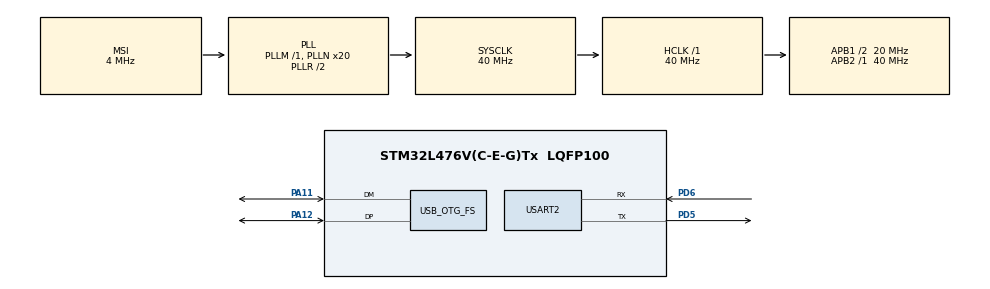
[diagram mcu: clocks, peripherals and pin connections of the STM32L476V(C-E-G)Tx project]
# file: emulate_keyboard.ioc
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Mcu.Family=STM32L4
Mcu.Name=STM32L476V(C-E-G)Tx
Mcu.Package=LQFP100
NVIC.OTG_FS_IRQn=true\:0\:0\:false\:false\:true\:true\:true
NVIC.PriorityGroup=NVIC_PRIORITYGROUP_4
NVIC.TIM1_UP_TIM16_IRQn=true\:15\:0\:false\:false\:true\:false\:true
NVIC.TimeBase=TIM1_UP_TIM16_IRQn
NVIC.TimeBaseIP=TIM1
PA11.Mode=Device_Only
PA11.Signal=USB_OTG_FS_DM
PA12.Mode=Device_Only
PA12.Signal=USB_OTG_FS_DP
PD5.Mode=Asynchronous
PD5.Signal=USART2_TX
PD6.Mode=Asynchronous
PD6.Signal=USART2_RX
PH0-OSC_IN\ (PH0).Mode=HSE-External-Oscillator
PH0-OSC_IN\ (PH0).Signal=RCC_OSC_IN
PH1-OSC_OUT\ (PH1).Mode=HSE-External-Oscillator
PH1-OSC_OUT\ (PH1).Signal=RCC_OSC_OUT
ProjectManager.HeapSize=0x200
ProjectManager.StackSize=0x400
ProjectManager.TargetToolchain=STM32CubeIDE
RCC.ADCFreq_Value=48000000
RCC.AHBFreq_Value=40000000
RCC.APB1CLKDivider=RCC_HCLK_DIV2
RCC.APB1Freq_Value=20000000
RCC.APB1TimFreq_Value=40000000
RCC.APB2Freq_Value=40000000
RCC.APB2TimFreq_Value=40000000
RCC.CortexFreq_Value=40000000
RCC.HCLKFreq_Value=40000000
RCC.HSE_VALUE=8000000
RCC.HSI_VALUE=16000000
RCC.LSE_VALUE=32768
RCC.MSI_VALUE=4000000
RCC.PLLN=20
RCC.PLLSAI1N=24
RCC.PREFETCH_ENABLE=1
RCC.SYSCLKFreq_VALUE=40000000
RCC.SYSCLKSource=RCC_SYSCLKSOURCE_PLLCLK
RCC.USBFreq_Value=48000000
RCC.VCOOutputFreq_Value=80000000
USART2.VirtualMode-Asynchronous=VM_ASYNC
USB_DEVICE.CLASS_NAME_FS=HID
USB_DEVICE.VirtualMode=Hid
USB_DEVICE.VirtualModeFS=Hid_FS
USB_OTG_FS.VirtualMode=Device_Only
VP_SYS_VS_tim1.Mode=TIM1
VP_USB_DEVICE_VS_USB_DEVICE_HID_FS.Mode=HID_FS
board=STM32L476G-DISCO

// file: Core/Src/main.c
/* USER CODE BEGIN Header */
/**
  ******************************************************************************
  * @file           : main.c
  * @brief          : Main program body
  ******************************************************************************
  * @attention
  *
  * <h2><center>&copy; Copyright (c) 2021 STMicroelectronics.
  * All rights reserved.</center></h2>
  *
  * This software component is licensed by ST under Ultimate Liberty license
  * SLA0044, the "License"; You may not use this file except in compliance with
  * the License. You may obtain a copy of the License at:
  *                             www.st.com/SLA0044
  *
  ******************************************************************************
  */
/* USER CODE END Header */
#include "main.h"
#include "usb_device.h"

/* USER CODE BEGIN Includes */
#include <stdlib.h>
#include <stdio.h>
#include "usbd_hid.h"

/* USER CODE END Includes */

UART_HandleTypeDef huart2;

void SystemClock_Config(void);
static void MX_GPIO_Init(void);
static void MX_USART2_UART_Init(void);

/* USER CODE BEGIN 0 */

#define KEY_NUMPAD_0 0x62
#define KEY_NUMPAD_1 0x59
#define KEY_NUMPAD_2 0x5A
#define KEY_NUMPAD_3 0x5B

#define KEY_ZOOM_INC KEY_NUMPAD_0
#define KEY_ZOOM_DEC KEY_NUMPAD_1
#define KEY_FOCUS_INC KEY_NUMPAD_2
#define KEY_FOCUS_DEC KEY_NUMPAD_3

#define INPUT_SIZE 128
char inputBuf[INPUT_SIZE];
int inputPos = 0;

extern USBD_HandleTypeDef hUsbDeviceFS;

void pressKey(uint8_t key, int times) {
  for (int i = 0; i < times; i++) {
    uint8_t report[8] = {};
    report[2] = key; // btn pressed
    USBD_HID_SendReport(&hUsbDeviceFS, report, sizeof (report));
    HAL_Delay(50);

    report[2] = 0x00; // Nothing pressed
    USBD_HID_SendReport(&hUsbDeviceFS, report, sizeof(report));
    HAL_Delay(50);
  }
}

/* USER CODE END 0 */

int main(void)
{

  /* MCU Configuration--------------------------------------------------------*/

  /* Reset of all peripherals, Initializes the Flash interface and the Systick. */
  HAL_Init();

  /* Configure the system clock */
  SystemClock_Config();

  /* Initialize all configured peripherals */
  MX_GPIO_Init();
  MX_USB_DEVICE_Init();
  MX_USART2_UART_Init();

  /* Infinite loop */
  /* USER CODE BEGIN WHILE */

  while (1)
  {
	  // Read UART
	      inputPos = 0;

	      do {
	        HAL_UART_Receive(&huart2, (uint8_t *)&inputBuf[inputPos], 1, HAL_MAX_DELAY);
	        HAL_UART_Transmit(&huart2, (uint8_t *)&inputBuf[inputPos], 1, HAL_MAX_DELAY);
	        inputPos++;
	      } while (inputPos != INPUT_SIZE - 1 && inputBuf[inputPos - 1] != '\r');

	      inputBuf[inputPos] = '\0';
	      HAL_UART_Transmit(&huart2, (uint8_t *)"\n", 1, HAL_MAX_DELAY);

	      HAL_Delay(2000);

	      char *endptr = NULL;
	      int action = strtol(inputBuf, &endptr, 10);
	      int times = strtol(endptr, NULL, 10);

	      if (action == 0) {
	        // Zoom +
	        pressKey(KEY_ZOOM_INC, times);
	      } else if (action == 1) {
	        // Zoom -
	        pressKey(KEY_ZOOM_DEC, times);
	      } else if (action == 2) {
	        // Focus +
	        pressKey(KEY_FOCUS_INC, times);
	      } else if (action == 3) {
	        // Focus -
	        pressKey(KEY_FOCUS_DEC, times);
	      }

    /* USER CODE END WHILE */

  }
}

void SystemClock_Config(void)
{
  RCC_OscInitTypeDef RCC_OscInitStruct = {0};
  RCC_ClkInitTypeDef RCC_ClkInitStruct = {0};

  /** Configure the main internal regulator output voltage
  */
  if (HAL_PWREx_ControlVoltageScaling(PWR_REGULATOR_VOLTAGE_SCALE1) != HAL_OK)
  {
    Error_Handler();
  }
  /** Initializes the RCC Oscillators according to the specified parameters
  * in the RCC_OscInitTypeDef structure.
  */
  RCC_OscInitStruct.OscillatorType = RCC_OSCILLATORTYPE_MSI;
  RCC_OscInitStruct.MSIState = RCC_MSI_ON;
  RCC_OscInitStruct.MSICalibrationValue = 0;
  RCC_OscInitStruct.MSIClockRange = RCC_MSIRANGE_6;
  RCC_OscInitStruct.PLL.PLLState = RCC_PLL_ON;
  RCC_OscInitStruct.PLL.PLLSource = RCC_PLLSOURCE_MSI;
  RCC_OscInitStruct.PLL.PLLM = 1;
  RCC_OscInitStruct.PLL.PLLN = 20;
  RCC_OscInitStruct.PLL.PLLP = RCC_PLLP_DIV7;
  RCC_OscInitStruct.PLL.PLLQ = RCC_PLLQ_DIV2;
  RCC_OscInitStruct.PLL.PLLR = RCC_PLLR_DIV2;
  if (HAL_RCC_OscConfig(&RCC_OscInitStruct) != HAL_OK)
  {
    Error_Handler();
  }
  /** Initializes the CPU, AHB and APB buses clocks
  */
  RCC_ClkInitStruct.ClockType = RCC_CLOCKTYPE_HCLK|RCC_CLOCKTYPE_SYSCLK
                              |RCC_CLOCKTYPE_PCLK1|RCC_CLOCKTYPE_PCLK2;
  RCC_ClkInitStruct.SYSCLKSource = RCC_SYSCLKSOURCE_PLLCLK;
  RCC_ClkInitStruct.AHBCLKDivider = RCC_SYSCLK_DIV1;
  RCC_ClkInitStruct.APB1CLKDivider = RCC_HCLK_DIV2;
  RCC_ClkInitStruct.APB2CLKDivider = RCC_HCLK_DIV1;

  if (HAL_RCC_ClockConfig(&RCC_ClkInitStruct, FLASH_LATENCY_2) != HAL_OK)
  {
    Error_Handler();
  }
}

static void MX_USART2_UART_Init(void)
{

  huart2.Instance = USART2;
  huart2.Init.BaudRate = 115200;
  huart2.Init.WordLength = UART_WORDLENGTH_8B;
  huart2.Init.StopBits = UART_STOPBITS_1;
  huart2.Init.Parity = UART_PARITY_NONE;
  huart2.Init.Mode = UART_MODE_TX_RX;
  huart2.Init.HwFlowCtl = UART_HWCONTROL_NONE;
  huart2.Init.OverSampling = UART_OVERSAMPLING_16;
  huart2.Init.OneBitSampling = UART_ONE_BIT_SAMPLE_DISABLE;
  huart2.AdvancedInit.AdvFeatureInit = UART_ADVFEATURE_NO_INIT;
  if (HAL_UART_Init(&huart2) != HAL_OK)
  {
    Error_Handler();
  }

}

static void MX_GPIO_Init(void)
{

  /* GPIO Ports Clock Enable */
  __HAL_RCC_GPIOH_CLK_ENABLE();
  __HAL_RCC_GPIOA_CLK_ENABLE();
  __HAL_RCC_GPIOD_CLK_ENABLE();

}

void HAL_TIM_PeriodElapsedCallback(TIM_HandleTypeDef *htim)
{
  if (htim->Instance == TIM1) {
    HAL_IncTick();
  }
}

void Error_Handler(void)
{
  __disable_irq();
  while (1)
  {
  }
}

/************************ (C) COPYRIGHT STMicroelectronics *****END OF FILE****/
